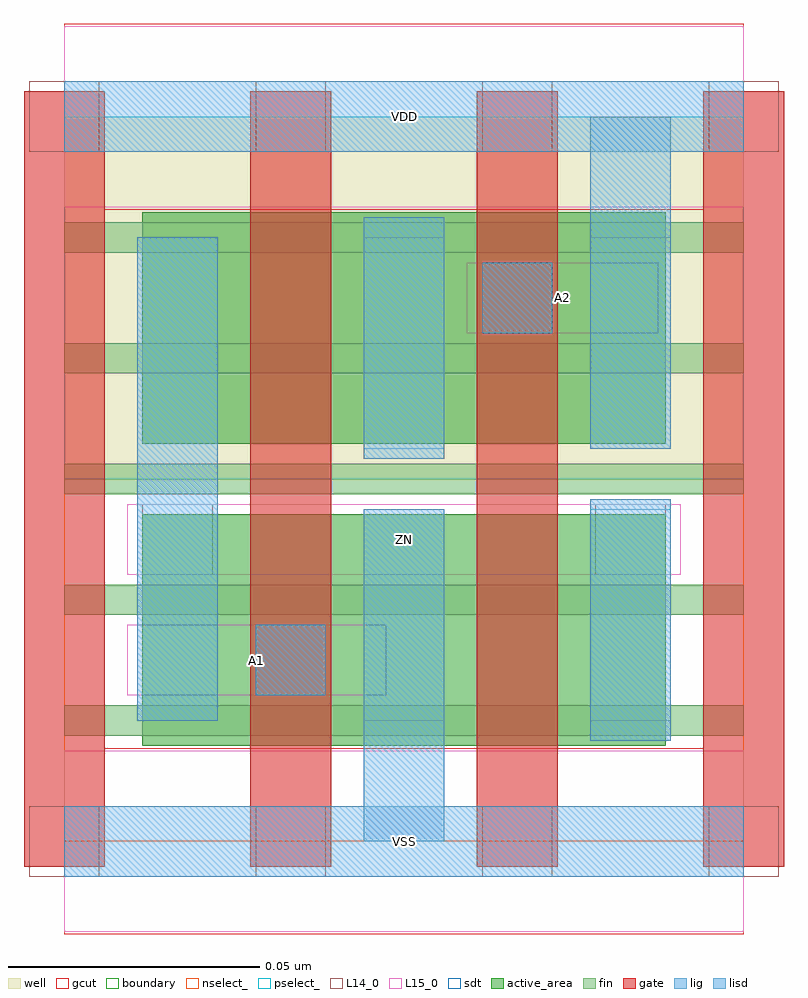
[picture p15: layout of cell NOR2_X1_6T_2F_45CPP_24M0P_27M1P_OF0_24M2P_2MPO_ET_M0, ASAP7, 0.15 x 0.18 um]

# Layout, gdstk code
import gdstk
lib = gdstk.Library(unit=1e-6, precision=2.5e-10)
def R(c, l, rs):  # rectangles x0, y0, x1, y1
    for r in rs: c.add(gdstk.rectangle(r[:2], r[2:], *l))
def A(c, l, x, y, w, h, nx, ny, dx, dy):  # array of equal rectangles
    R(c, l, [(x+i*dx, y+j*dy, x+i*dx+w, y+j*dy+h) for i in range(nx) for j in range(ny)])
well = (1, 0)
fin = (2, 0)
gate = (7, 0)
gcut = (10, 0)
active_area = (11, 0)
nselect_ = (12, 0)
pselect_ = (13, 0)
L14_0 = (14, 0)
L15_0 = (15, 0)
lig = (16, 0)
lisd = (17, 0)
sdt = (88, 0)
boundary = (100, 0)

nor2_x1_6t_2f_45cpp_24m0 = lib.new_cell('NOR2_X1_6T_2F_45CPP_24M0P_27M1P_OF0_24M2P_2MPO_ET_M0')
R(nor2_x1_6t_2f_45cpp_24m0, well, [(0,0.072,0.135,0.144)])
A(nor2_x1_6t_2f_45cpp_24m0, fin, 0, 0.021, 0.135, 0.006, 1, 5, 0, 0.024)
A(nor2_x1_6t_2f_45cpp_24m0, gate, -0.008, -0.005, 0.016, 0.154, 4, 1, 0.045, 0)
R(nor2_x1_6t_2f_45cpp_24m0, gcut, [(0,-0.0185,0.135,0.0185), (-0.008,-0.005,0.008,0.149), (0.127,-0.005,0.143,0.149), (0,0.1255,0.135,0.1625)])
R(nor2_x1_6t_2f_45cpp_24m0, active_area, [(0.0155,0.019,0.0745,0.065), (0.0605,0.019,0.1195,0.065), (0.0155,0.079,0.0745,0.125), (0.0605,0.079,0.1195,0.125)])
R(nor2_x1_6t_2f_45cpp_24m0, nselect_, [(0,0,0.135,0.072)])
R(nor2_x1_6t_2f_45cpp_24m0, pselect_, [(0,0.072,0.135,0.144)])
A(nor2_x1_6t_2f_45cpp_24m0, L14_0, -0.007, -0.007, 0.014, 0.014, 4, 2, 0.045, 0.144)
R(nor2_x1_6t_2f_45cpp_24m0, L14_0, [(0.038,0.029,0.052,0.043), (0.0155,0.053,0.0295,0.067), (0.1055,0.053,0.1195,0.067), (0.083,0.101,0.097,0.115)])
R(nor2_x1_6t_2f_45cpp_24m0, L15_0, [(0,-0.018,0.135,0.018), (0.0125,0.029,0.064,0.043), (0.0125,0.053,0.1225,0.067), (0.08,0.101,0.118,0.115), (0,0.126,0.135,0.162)])
R(nor2_x1_6t_2f_45cpp_24m0, lig, [(0,-0.007,0.135,0.007), (0.038,0.029,0.052,0.043), (0.083,0.101,0.097,0.115), (0,0.137,0.135,0.151)])
R(nor2_x1_6t_2f_45cpp_24m0, lisd, [(0.0595,0,0.0755,0.066), (0.1045,0.02,0.1205,0.068), (0.0145,0.024,0.0305,0.12), (0.0595,0.076,0.0755,0.124), (0.1045,0.078,0.1205,0.144)])
R(nor2_x1_6t_2f_45cpp_24m0, sdt, [(0.0145,0.024,0.0305,0.12), (0.0595,0.024,0.0755,0.066), (0.1045,0.024,0.1205,0.066), (0.0595,0.078,0.0755,0.12), (0.1045,0.078,0.1205,0.12)])
R(nor2_x1_6t_2f_45cpp_24m0, boundary, [(0,0,0.135,0.144)])
nor2_x1_6t_2f_45cpp_24m0.add(gdstk.Label('A2', (0.099,0.108), layer=15, texttype=251))
nor2_x1_6t_2f_45cpp_24m0.add(gdstk.Label('A1', (0.0382,0.036), layer=15, texttype=251))
nor2_x1_6t_2f_45cpp_24m0.add(gdstk.Label('ZN', (0.0675,0.06), layer=15, texttype=251))
nor2_x1_6t_2f_45cpp_24m0.add(gdstk.Label('VDD', (0.0675,0.144), layer=15, texttype=251))
nor2_x1_6t_2f_45cpp_24m0.add(gdstk.Label('VSS', (0.0675,0), layer=15, texttype=251))
nor2_x1_6t_2f_45cpp_24m0.add(gdstk.Label('VDD', (0.0675,0.144), layer=1, texttype=251))
nor2_x1_6t_2f_45cpp_24m0.add(gdstk.Label('VSS', (0.0675,0), layer=3, texttype=251))

lib.write_gds('NOR2_X1_6T_2F_45CPP_24M0P_27M1P_OF0_24M2P_2MPO_ET_M0.gds')
